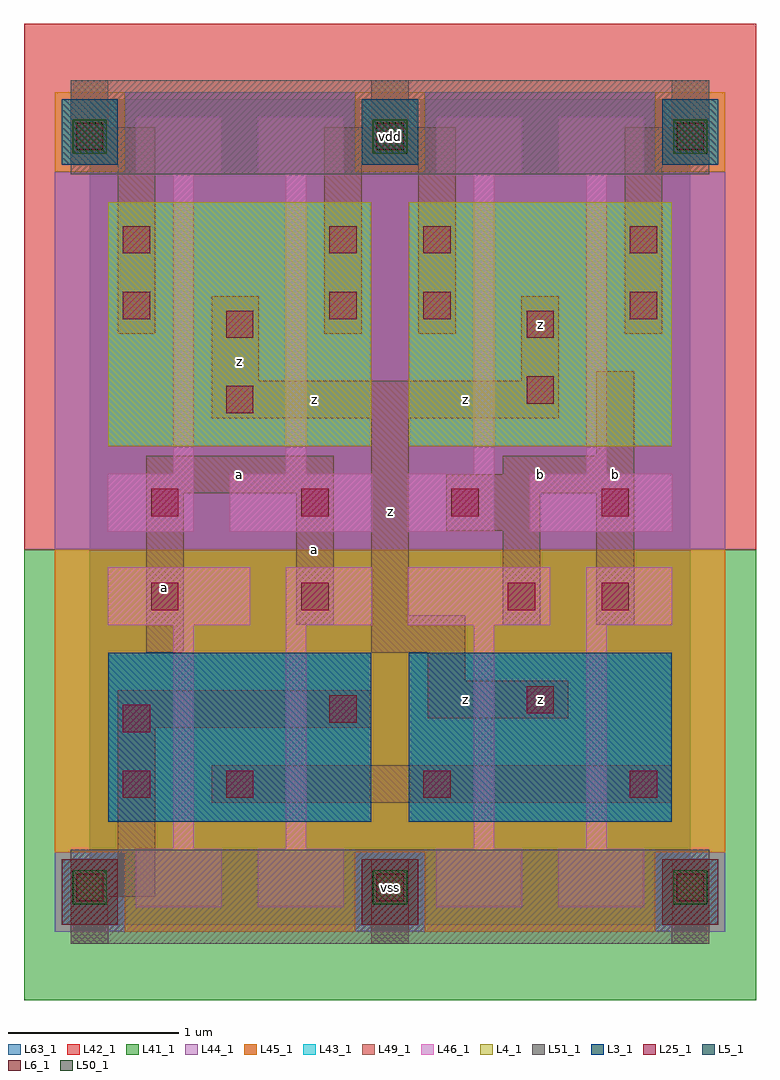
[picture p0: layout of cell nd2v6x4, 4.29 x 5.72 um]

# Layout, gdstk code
import gdstk
lib = gdstk.Library(unit=1e-6, precision=1e-09)
def R(c, l, rs):  # rectangles x0, y0, x1, y1
    for r in rs: c.add(gdstk.rectangle(r[:2], r[2:], *l))
def A(c, l, x, y, w, h, nx, ny, dx, dy):  # array of equal rectangles
    R(c, l, [(x+i*dx, y+j*dy, x+i*dx+w, y+j*dy+h) for i in range(nx) for j in range(ny)])
L3_1 = (3, 1)
L4_1 = (4, 1)
L5_1 = (5, 1)
L6_1 = (6, 1)
L25_1 = (25, 1)
L41_1 = (41, 1)
L42_1 = (42, 1)
L43_1 = (43, 1)
L44_1 = (44, 1)
L45_1 = (45, 1)
L46_1 = (46, 1)
L49_1 = (49, 1)
L50_1 = (50, 1)
L51_1 = (51, 1)
L63_1 = (63, 1)

nd2v6x4 = lib.new_cell('nd2v6x4')
R(nd2v6x4, L3_1, [(0.11,0.605,1.65,1.595), (1.87,0.605,3.41,1.595)])
R(nd2v6x4, L4_1, [(0.11,2.805,1.65,4.235), (1.87,2.805,3.41,4.235)])
A(nd2v6x4, L5_1, -0.165, 4.455, 0.33, 0.385, 3, 1, 1.76, 0)
A(nd2v6x4, L6_1, -0.165, 0, 0.33, 0.385, 3, 1, 1.76, 0)
A(nd2v6x4, L25_1, -0.08, 0.14, 0.16, 0.16, 3, 2, 1.76, 4.4)
A(nd2v6x4, L25_1, 0.36, 2.395, 0.16, 0.16, 4, 1, 0.88, 0)
R(nd2v6x4, L25_1, [(0.195,0.745,0.355,0.905), (0.8,0.745,0.96,0.905), (1.955,0.745,2.115,0.905), (3.165,0.745,3.325,0.905), (0.195,1.13,0.355,1.29), (1.405,1.185,1.565,1.345), (2.56,1.24,2.72,1.4), (0.36,1.845,0.52,2.005), (1.24,1.845,1.4,2.005), (2.45,1.845,2.61,2.005), (3,1.845,3.16,2.005), (0.8,3,0.96,3.16), (2.56,3.055,2.72,3.215), (0.8,3.44,0.96,3.6), (2.56,3.44,2.72,3.6), (0.195,3.55,0.355,3.71), (1.405,3.55,1.565,3.71), (1.955,3.55,2.115,3.71), (3.165,3.55,3.325,3.71), (0.195,3.935,0.355,4.095), (1.405,3.935,1.565,4.095), (1.955,3.935,2.115,4.095), (3.165,3.935,3.325,4.095)])
R(nd2v6x4, L41_1, [(-0.385,-0.44,3.905,2.2)])
R(nd2v6x4, L42_1, [(-0.385,2.2,3.905,5.28)])
A(nd2v6x4, L43_1, -0.165, 0, 0.33, 0.385, 3, 2, 1.76, 4.455)
R(nd2v6x4, L43_1, [(0.11,0.605,1.65,1.595), (1.87,0.605,3.41,1.595), (0.11,2.805,1.65,4.235), (1.87,2.805,3.41,4.235)])
A(nd2v6x4, L44_1, -0.205, -0.04, 0.41, 0.465, 3, 1, 1.76, 0)
R(nd2v6x4, L44_1, [(-0.205,2.2,3.725,4.415), (0.205,4.415,1.555,4.88), (1.965,4.415,3.315,4.88)])
A(nd2v6x4, L45_1, -0.205, 4.415, 0.41, 0.465, 3, 1, 1.76, 0)
R(nd2v6x4, L45_1, [(0.205,-0.04,1.555,0.425), (1.965,-0.04,3.315,0.425), (-0.205,0.425,3.725,2.2)])
R(nd2v6x4, L46_1, [(0.27,0.105,0.775,0.445), (0.985,0.105,1.49,0.445), (2.03,0.105,2.535,0.445), (2.745,0.105,3.25,0.445), (0.49,0.445,0.61,1.755), (1.15,0.445,1.27,1.755), (2.25,0.445,2.37,1.755), (2.91,0.445,3.03,1.755), (0.105,1.755,0.94,2.095), (1.15,1.755,1.655,2.095), (1.865,1.755,2.7,2.095), (2.91,1.755,3.415,2.095), (0.105,2.305,0.61,2.645), (0.82,2.305,1.655,2.645), (1.865,2.305,2.37,2.645), (2.58,2.305,3.415,2.645), (0.49,2.645,0.61,4.395), (1.15,2.645,1.27,4.395), (2.25,2.645,2.37,4.395), (2.91,2.645,3.03,4.395), (0.27,4.395,0.775,4.735), (0.985,4.395,1.49,4.735), (2.03,4.395,2.535,4.735), (2.745,4.395,3.25,4.735)])
A(nd2v6x4, L49_1, -0.11, 4.675, 0.22, 0.275, 3, 1, 1.76, 0)
R(nd2v6x4, L49_1, [(-0.11,-0.11,0.11,0.165), (1.65,-0.11,1.87,0.385), (3.41,-0.11,3.63,0.385), (-0.11,0.165,0.385,0.385), (0.165,0.385,0.385,1.155), (0.715,0.715,3.41,0.935), (0.165,1.155,1.65,1.375), (1.98,1.21,2.805,1.43), (1.98,1.43,2.2,1.595), (0.33,1.595,0.55,2.53), (1.65,1.595,2.2,1.815), (1.21,1.76,1.43,2.53), (2.42,1.76,2.64,2.31), (2.97,1.76,3.19,2.53), (1.65,1.815,1.87,2.97), (2.09,2.31,2.64,2.53), (0.33,2.53,1.43,2.75), (2.09,2.53,3.19,2.64), (2.42,2.64,3.19,2.75), (2.97,2.75,3.19,3.245), (0.715,2.97,2.75,3.19), (0.715,3.19,0.99,3.685), (2.53,3.19,2.75,3.685), (0.165,3.465,0.385,4.455), (1.375,3.465,1.595,4.455), (1.925,3.465,2.145,4.455), (3.135,3.465,3.355,4.455), (-0.11,4.455,0.385,4.675), (1.375,4.455,2.145,4.675), (3.135,4.455,3.63,4.675)])
A(nd2v6x4, L50_1, -0.1, 0.12, 0.2, 0.2, 3, 2, 1.76, 4.4)
R(nd2v6x4, L51_1, [(-0.11,-0.11,3.63,0.44), (-0.11,4.4,3.63,4.95)])
R(nd2v6x4, L63_1, [(0,0,3.52,4.84)])
nd2v6x4.add(gdstk.Label('a', (0.44,1.98), layer=49, texttype=1))
nd2v6x4.add(gdstk.Label('a', (0.88,2.64), layer=49, texttype=1))
nd2v6x4.add(gdstk.Label('z', (0.88,3.3), layer=49, texttype=1))
nd2v6x4.add(gdstk.Label('a', (1.32,2.2), layer=49, texttype=1))
nd2v6x4.add(gdstk.Label('z', (1.76,2.42), layer=49, texttype=1))
nd2v6x4.add(gdstk.Label('z', (1.32,3.08), layer=49, texttype=1))
nd2v6x4.add(gdstk.Label('z', (2.2,1.32), layer=49, texttype=1))
nd2v6x4.add(gdstk.Label('z', (2.64,1.32), layer=49, texttype=1))
nd2v6x4.add(gdstk.Label('b', (2.64,2.64), layer=49, texttype=1))
nd2v6x4.add(gdstk.Label('z', (2.2,3.08), layer=49, texttype=1))
nd2v6x4.add(gdstk.Label('z', (2.64,3.52), layer=49, texttype=1))
nd2v6x4.add(gdstk.Label('b', (3.08,2.64), layer=49, texttype=1))
nd2v6x4.add(gdstk.Label('vss', (1.76,0.22), layer=51, texttype=1))
nd2v6x4.add(gdstk.Label('vdd', (1.76,4.62), layer=51, texttype=1))

lib.write_gds('nd2v6x4.gds')
